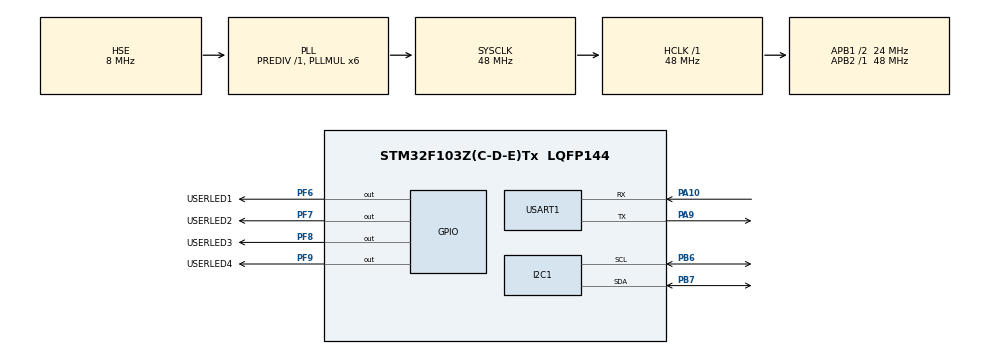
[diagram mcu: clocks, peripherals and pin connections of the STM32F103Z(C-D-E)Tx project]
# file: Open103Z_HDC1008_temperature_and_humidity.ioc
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Mcu.Family=STM32F1
Mcu.Name=STM32F103Z(C-D-E)Tx
Mcu.Package=LQFP144
NVIC.PriorityGroup=NVIC_PRIORITYGROUP_4
OSC_IN.Mode=HSE-External-Oscillator
OSC_IN.Signal=RCC_OSC_IN
OSC_OUT.Mode=HSE-External-Oscillator
OSC_OUT.Signal=RCC_OSC_OUT
PA10.Mode=Asynchronous
PA10.Signal=USART1_RX
PA13.Mode=Serial_Wire
PA13.Signal=SYS_JTMS-SWDIO
PA14.Mode=Serial_Wire
PA14.Signal=SYS_JTCK-SWCLK
PA9.Mode=Asynchronous
PA9.Signal=USART1_TX
PB6.Mode=I2C
PB6.Signal=I2C1_SCL
PB7.Mode=I2C
PB7.Signal=I2C1_SDA
PF6.GPIO_Label=USERLED1
PF6.Signal=GPIO_Output
PF7.GPIO_Label=USERLED2
PF7.Signal=GPIO_Output
PF8.GPIO_Label=USERLED3
PF8.Signal=GPIO_Output
PF9.GPIO_Label=USERLED4
PF9.Signal=GPIO_Output
ProjectManager.TargetToolchain=TrueSTUDIO
RCC.AHBFreq_Value=48000000
RCC.APB1CLKDivider=RCC_HCLK_DIV2
RCC.APB1Freq_Value=24000000
RCC.APB1TimFreq_Value=48000000
RCC.APB2Freq_Value=48000000
RCC.APB2TimFreq_Value=48000000
RCC.HCLKFreq_Value=48000000
RCC.HSIState=RCC_HSI_ON
RCC.PLLMUL=RCC_PLL_MUL6
RCC.PLLSourceVirtual=RCC_PLLSOURCE_HSE
RCC.SYSCLKFreq_VALUE=48000000
RCC.SYSCLKSource=RCC_SYSCLKSOURCE_PLLCLK
RCC.USBFreq_Value=48000000
board=Open103Z_HDC1008_temperature_and_humidity

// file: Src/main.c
/**
  ******************************************************************************
  * File Name          : main.c
  * Description        : Main program body
  ******************************************************************************
  *
  * COPYRIGHT(c) 2015 STMicroelectronics
  *
  * Redistribution and use in source and binary forms, with or without modification,
  * are permitted provided that the following conditions are met:
  *   1. Redistributions of source code must retain the above copyright notice,
  *      this list of conditions and the following disclaimer.
  *   2. Redistributions in binary form must reproduce the above copyright notice,
  *      this list of conditions and the following disclaimer in the documentation
  *      and/or other materials provided with the distribution.
  *   3. Neither the name of STMicroelectronics nor the names of its contributors
  *      may be used to endorse or promote products derived from this software
  *      without specific prior written permission.
  *
  * THIS SOFTWARE IS PROVIDED BY THE COPYRIGHT HOLDERS AND CONTRIBUTORS "AS IS"
  * AND ANY EXPRESS OR IMPLIED WARRANTIES, INCLUDING, BUT NOT LIMITED TO, THE
  * IMPLIED WARRANTIES OF MERCHANTABILITY AND FITNESS FOR A PARTICULAR PURPOSE ARE
  * DISCLAIMED. IN NO EVENT SHALL THE COPYRIGHT HOLDER OR CONTRIBUTORS BE LIABLE
  * FOR ANY DIRECT, INDIRECT, INCIDENTAL, SPECIAL, EXEMPLARY, OR CONSEQUENTIAL
  * DAMAGES (INCLUDING, BUT NOT LIMITED TO, PROCUREMENT OF SUBSTITUTE GOODS OR
  * SERVICES; LOSS OF USE, DATA, OR PROFITS; OR BUSINESS INTERRUPTION) HOWEVER
  * CAUSED AND ON ANY THEORY OF LIABILITY, WHETHER IN CONTRACT, STRICT LIABILITY,
  * OR TORT (INCLUDING NEGLIGENCE OR OTHERWISE) ARISING IN ANY WAY OUT OF THE USE
  * OF THIS SOFTWARE, EVEN IF ADVISED OF THE POSSIBILITY OF SUCH DAMAGE.
  *
  ******************************************************************************
  */
#include "stm32f1xx_hal.h"

/* USER CODE BEGIN Includes */
#include "hdc1008.h"
#include "serial_debug.h"
/* USER CODE END Includes */

I2C_HandleTypeDef hi2c1;

UART_HandleTypeDef huart1;

/* USER CODE BEGIN PV */
/* Private variables ---------------------------------------------------------*/

/* USER CODE END PV */

void SystemClock_Config(void);
static void MX_GPIO_Init(void);
static void MX_I2C1_Init(void);
static void MX_USART1_UART_Init(void);

/* USER CODE BEGIN PFP */
/* Private function prototypes -----------------------------------------------*/

/* USER CODE END PFP */

int main(void)
{

  /* USER CODE BEGIN 1 */
	struct hdc1008_ctx hdc1_ctx;
	int wait_ms;
	float temperature, humidity;

  /* USER CODE END 1 */

  /* MCU Configuration----------------------------------------------------------*/

  /* Reset of all peripherals, Initializes the Flash interface and the Systick. */
  HAL_Init();

  /* Configure the system clock */
  SystemClock_Config();

  /* Initialize all configured peripherals */
  MX_GPIO_Init();
  MX_I2C1_Init();
  MX_USART1_UART_Init();

  /* USER CODE BEGIN 2 */
  _DBG("Init primary HDC\n");
  hdc1_ctx.hi2c = &hi2c1;
  hdc1_ctx.address = 0x40;
  if (!hdc1008_init(&hdc1_ctx)) {
	  _DBG("HDC 1 not found.\n")
  } else {
	  _DBG("HDC 1 found.\n");
  }

  /* USER CODE END 2 */

  /* Infinite loop */
  /* USER CODE BEGIN WHILE */
	wait_ms = 500;
	while (1)
	{
	  HAL_GPIO_WritePin(GPIOF, USERLED1_Pin, GPIO_PIN_SET);
	  HAL_Delay(wait_ms);
	  HAL_GPIO_WritePin(GPIOF, USERLED1_Pin, GPIO_PIN_RESET);
	  HAL_Delay(wait_ms);

	  if (!hdc1008_read_temperature_and_humidity(&hdc1_ctx, &temperature, &humidity)) {
		  _DBG("Error reading hdc1008\n");
	  } else {
		  _DBF(temperature); _DBG("C, ");
		  _DBF(humidity); _DBG("%\n");
	  }
	}
  /* USER CODE END WHILE */

}

/** System Clock Configuration
*/
void SystemClock_Config(void)
{

  RCC_OscInitTypeDef RCC_OscInitStruct;
  RCC_ClkInitTypeDef RCC_ClkInitStruct;

  RCC_OscInitStruct.OscillatorType = RCC_OSCILLATORTYPE_HSE;
  RCC_OscInitStruct.HSEState = RCC_HSE_ON;
  RCC_OscInitStruct.HSEPredivValue = RCC_HSE_PREDIV_DIV1;
  RCC_OscInitStruct.PLL.PLLState = RCC_PLL_ON;
  RCC_OscInitStruct.PLL.PLLSource = RCC_PLLSOURCE_HSE;
  RCC_OscInitStruct.PLL.PLLMUL = RCC_PLL_MUL6;
  HAL_RCC_OscConfig(&RCC_OscInitStruct);

  RCC_ClkInitStruct.ClockType = RCC_CLOCKTYPE_SYSCLK|RCC_CLOCKTYPE_PCLK1;
  RCC_ClkInitStruct.SYSCLKSource = RCC_SYSCLKSOURCE_PLLCLK;
  RCC_ClkInitStruct.AHBCLKDivider = RCC_SYSCLK_DIV1;
  RCC_ClkInitStruct.APB1CLKDivider = RCC_HCLK_DIV2;
  RCC_ClkInitStruct.APB2CLKDivider = RCC_HCLK_DIV1;
  HAL_RCC_ClockConfig(&RCC_ClkInitStruct, FLASH_LATENCY_1);

  HAL_SYSTICK_Config(HAL_RCC_GetHCLKFreq()/1000);

  HAL_SYSTICK_CLKSourceConfig(SYSTICK_CLKSOURCE_HCLK);

  /* SysTick_IRQn interrupt configuration */
  HAL_NVIC_SetPriority(SysTick_IRQn, 0, 0);
}

/* I2C1 init function */
void MX_I2C1_Init(void)
{

  hi2c1.Instance = I2C1;
  hi2c1.Init.ClockSpeed = 100000;
  hi2c1.Init.DutyCycle = I2C_DUTYCYCLE_2;
  hi2c1.Init.OwnAddress1 = 0;
  hi2c1.Init.AddressingMode = I2C_ADDRESSINGMODE_7BIT;
  hi2c1.Init.DualAddressMode = I2C_DUALADDRESS_DISABLED;
  hi2c1.Init.OwnAddress2 = 0;
  hi2c1.Init.GeneralCallMode = I2C_GENERALCALL_DISABLED;
  hi2c1.Init.NoStretchMode = I2C_NOSTRETCH_DISABLED;
  HAL_I2C_Init(&hi2c1);

}

/* USART1 init function */
void MX_USART1_UART_Init(void)
{

  huart1.Instance = USART1;
  huart1.Init.BaudRate = 115200;
  huart1.Init.WordLength = UART_WORDLENGTH_8B;
  huart1.Init.StopBits = UART_STOPBITS_1;
  huart1.Init.Parity = UART_PARITY_NONE;
  huart1.Init.Mode = UART_MODE_TX_RX;
  huart1.Init.HwFlowCtl = UART_HWCONTROL_NONE;
  huart1.Init.OverSampling = UART_OVERSAMPLING_16;
  HAL_UART_Init(&huart1);

}

/** Configure pins as
        * Analog
        * Input
        * Output
        * EVENT_OUT
        * EXTI
*/
void MX_GPIO_Init(void)
{

  GPIO_InitTypeDef GPIO_InitStruct;

  /* GPIO Ports Clock Enable */
  __GPIOF_CLK_ENABLE();
  __GPIOA_CLK_ENABLE();
  __GPIOB_CLK_ENABLE();

  /*Configure GPIO pins : USERLED1_Pin USERLED2_Pin USERLED3_Pin USERLED4_Pin */
  GPIO_InitStruct.Pin = USERLED1_Pin|USERLED2_Pin|USERLED3_Pin|USERLED4_Pin;
  GPIO_InitStruct.Mode = GPIO_MODE_OUTPUT_PP;
  GPIO_InitStruct.Speed = GPIO_SPEED_LOW;
  HAL_GPIO_Init(GPIOF, &GPIO_InitStruct);

}

/************************ (C) COPYRIGHT STMicroelectronics *****END OF FILE****/
